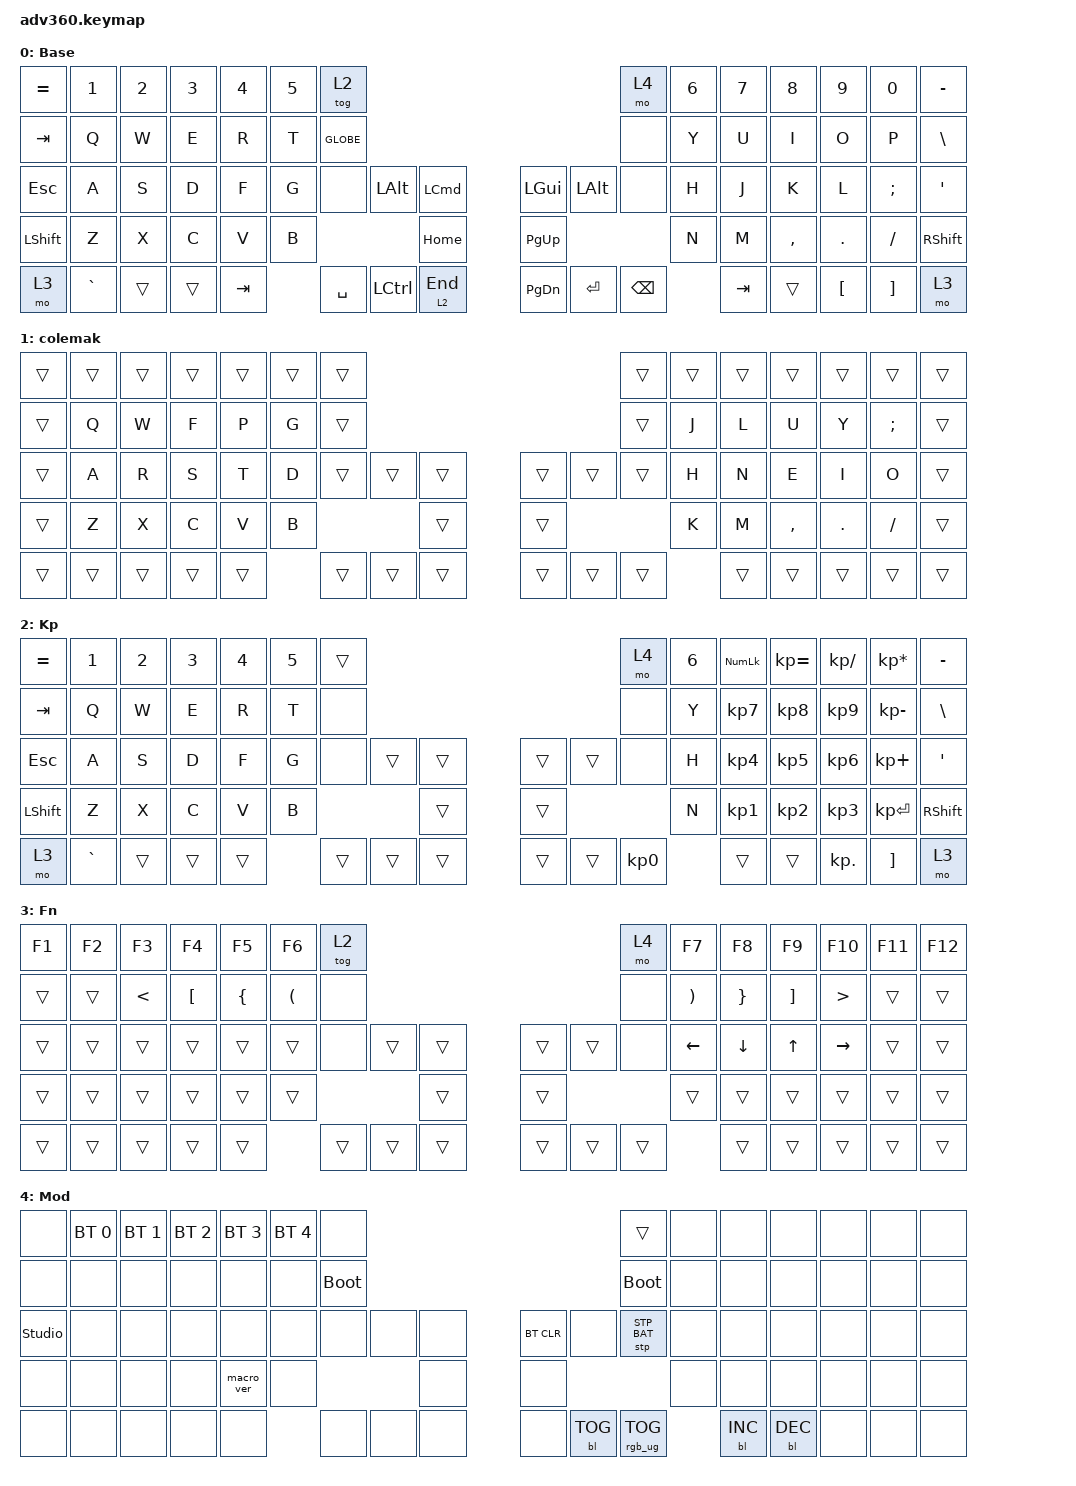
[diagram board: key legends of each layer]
#include <dt-bindings/zmk/stp.h>
#include <behaviors.dtsi>
#include <dt-bindings/zmk/backlight.h>
#include <dt-bindings/zmk/bt.h>
#include <dt-bindings/zmk/keys.h>
#include <dt-bindings/zmk/rgb.h>

/ {
    behaviors {
        #include "macros.dtsi"
      #include "version.dtsi"

        hm: homerow_mods {
            compatible = "zmk,behavior-hold-tap";
            label = "HOMEROW_MODS";
            #binding-cells = <2>;
            tapping-term-ms = <200>;
            quick_tap_ms = <175>;
            flavor = "tap-preferred";
            bindings = <&kp>, <&kp>;
        };
    };

    keymap {
        compatible = "zmk,keymap";

        default_layer {
            display-name = "Base";
            bindings = <
&kp EQUAL  &kp N1     &kp N2  &kp N3  &kp N4   &kp N5  &tog 2                                                                   &mo 4          &kp N6  &kp N7   &kp N8     &kp N9    &kp N0    &kp MINUS
&kp TAB    &kp Q      &kp W   &kp E   &kp R    &kp T   &kp GLOBE                                                                &none          &kp Y   &kp U    &kp I      &kp O     &kp P     &kp BSLH
&kp ESC    &kp A      &kp S   &kp D   &kp F    &kp G   &none      &kp LEFT_ALT      &kp LEFT_COMMAND      &kp LGUI   &kp LALT   &none          &kp H   &kp J    &kp K      &kp L     &kp SEMI  &kp SQT
&kp LSHFT  &kp Z      &kp X   &kp C   &kp V    &kp B                                &kp HOME              &kp PG_UP                            &kp N   &kp M    &kp COMMA  &kp DOT   &kp FSLH  &kp RSHFT
&mo 3      &kp GRAVE  &trans  &trans  &kp TAB          &kp SPACE  &kp LEFT_CONTROL  &lt 2 END             &kp PG_DN  &kp ENTER  &kp BACKSPACE          &kp TAB  &trans     &kp LBKT  &kp RBKT  &mo 3
            >;
        };

        colemak {
            bindings = <
&trans  &trans  &trans  &trans  &trans  &trans  &trans                                      &trans  &trans  &trans  &trans     &trans   &trans    &trans
&trans  &kp Q   &kp W   &kp F   &kp P   &kp G   &trans                                      &trans  &kp J   &kp L   &kp U      &kp Y    &kp SEMI  &trans
&trans  &kp A   &kp R   &kp S   &kp T   &kp D   &trans  &trans  &trans      &trans  &trans  &trans  &kp H   &kp N   &kp E      &kp I    &kp O     &trans
&trans  &kp Z   &kp X   &kp C   &kp V   &kp B                   &trans      &trans                  &kp K   &kp M   &kp COMMA  &kp DOT  &kp FSLH  &trans
&trans  &trans  &trans  &trans  &trans          &trans  &trans  &trans      &trans  &trans  &trans          &trans  &trans     &trans   &trans    &trans
            >;
        };

        keypad {
            display-name = "Kp";
            bindings = <
&kp EQUAL  &kp N1     &kp N2  &kp N3  &kp N4  &kp N5  &trans                                      &mo 4      &kp N6  &kp KP_NUM  &kp KP_EQUAL  &kp KP_DIVIDE  &kp KP_MULTIPLY  &kp MINUS
&kp TAB    &kp Q      &kp W   &kp E   &kp R   &kp T   &none                                       &none      &kp Y   &kp KP_N7   &kp KP_N8     &kp KP_N9      &kp KP_MINUS     &kp BSLH
&kp ESC    &kp A      &kp S   &kp D   &kp F   &kp G   &none   &trans  &trans      &trans  &trans  &none      &kp H   &kp KP_N4   &kp KP_N5     &kp KP_N6      &kp KP_PLUS      &kp SQT
&kp LSHFT  &kp Z      &kp X   &kp C   &kp V   &kp B                   &trans      &trans                     &kp N   &kp KP_N1   &kp KP_N2     &kp KP_N3      &kp KP_ENTER     &kp RSHFT
&mo 3      &kp GRAVE  &trans  &trans  &trans          &trans  &trans  &trans      &trans  &trans  &kp KP_N0          &trans      &trans        &kp KP_DOT     &kp RBKT         &mo 3
            >;
        };

        fn {
            display-name = "Fn";
            bindings = <
&kp F1  &kp F2  &kp F3         &kp F4            &kp F5          &kp F6                &tog 2                                      &mo 4   &kp F7                 &kp F8           &kp F9             &kp F10           &kp F11  &kp F12
&trans  &trans  &kp LESS_THAN  &kp LEFT_BRACKET  &kp LEFT_BRACE  &kp LEFT_PARENTHESIS  &none                                       &none   &kp RIGHT_PARENTHESIS  &kp RIGHT_BRACE  &kp RIGHT_BRACKET  &kp GREATER_THAN  &trans   &trans
&trans  &trans  &trans         &trans            &trans          &trans                &none   &trans  &trans      &trans  &trans  &none   &kp LEFT_ARROW         &kp DOWN_ARROW   &kp UP_ARROW       &kp RIGHT         &trans   &trans
&trans  &trans  &trans         &trans            &trans          &trans                                &trans      &trans                  &trans                 &trans           &trans             &trans            &trans   &trans
&trans  &trans  &trans         &trans            &trans                                &trans  &trans  &trans      &trans  &trans  &trans                         &trans           &trans             &trans            &trans   &trans
            >;
        };

        mod {
            display-name = "Mod";
            bindings = <
&none           &bt BT_SEL 0  &bt BT_SEL 1  &bt BT_SEL 2  &bt BT_SEL 3  &bt BT_SEL 4  &none                                                  &trans           &none  &none       &none       &none  &none  &none
&none           &none         &none         &none         &none         &none         &bootloader                                            &bootloader      &none  &none       &none       &none  &none  &none
&studio_unlock  &none         &none         &none         &none         &none         &none        &none  &none      &bt BT_CLR  &none       &stp STP_BAT     &none  &none       &none       &none  &none  &none
&none           &none         &none         &none         &macro_ver    &none                             &none      &none                                    &none  &none       &none       &none  &none  &none
&none           &none         &none         &none         &none                       &none        &none  &none      &none       &bl BL_TOG  &rgb_ug RGB_TOG         &bl BL_INC  &bl BL_DEC  &none  &none  &none
            >;
        };

        extra1 {
            display-name = "Red";
            status = "reserved";
        };

        extra2 {
            display-name = "Purple";
            status = "reserved";
        };

        extra3 {
            display-name = "Cyan";
            status = "reserved";
        };

        extra4 {
            display-name = "Yellow";
            status = "reserved";
        };
    };
};
